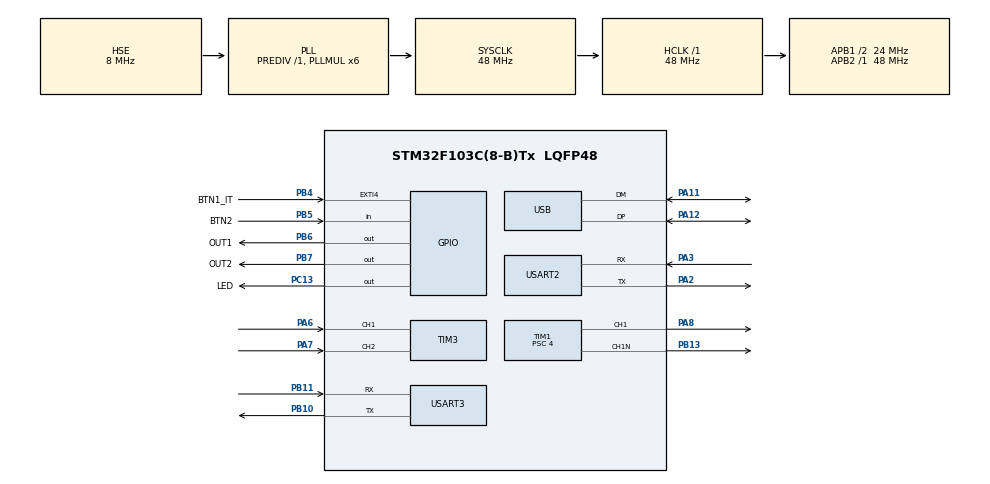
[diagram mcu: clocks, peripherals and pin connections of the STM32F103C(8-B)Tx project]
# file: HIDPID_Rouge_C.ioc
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Dma.Request0=USART2_RX
Dma.Request1=USART2_TX
Dma.Request2=USART3_RX
Dma.Request3=USART3_TX
Dma.USART2_RX.0.Direction=DMA_PERIPH_TO_MEMORY
Dma.USART2_RX.0.Instance=DMA1_Channel6
Dma.USART2_RX.0.MemDataAlignment=DMA_MDATAALIGN_BYTE
Dma.USART2_RX.0.MemInc=DMA_MINC_ENABLE
Dma.USART2_RX.0.Mode=DMA_NORMAL
Dma.USART2_RX.0.PeriphDataAlignment=DMA_PDATAALIGN_BYTE
Dma.USART2_RX.0.PeriphInc=DMA_PINC_DISABLE
Dma.USART2_RX.0.Priority=DMA_PRIORITY_LOW
Dma.USART2_TX.1.Direction=DMA_MEMORY_TO_PERIPH
Dma.USART2_TX.1.Instance=DMA1_Channel7
Dma.USART2_TX.1.MemDataAlignment=DMA_MDATAALIGN_BYTE
Dma.USART2_TX.1.MemInc=DMA_MINC_ENABLE
Dma.USART2_TX.1.Mode=DMA_NORMAL
Dma.USART2_TX.1.PeriphDataAlignment=DMA_PDATAALIGN_BYTE
Dma.USART2_TX.1.PeriphInc=DMA_PINC_DISABLE
Dma.USART2_TX.1.Priority=DMA_PRIORITY_LOW
Dma.USART3_RX.2.Direction=DMA_PERIPH_TO_MEMORY
Dma.USART3_RX.2.Instance=DMA1_Channel3
Dma.USART3_RX.2.MemDataAlignment=DMA_MDATAALIGN_BYTE
Dma.USART3_RX.2.MemInc=DMA_MINC_ENABLE
Dma.USART3_RX.2.Mode=DMA_NORMAL
Dma.USART3_RX.2.PeriphDataAlignment=DMA_PDATAALIGN_BYTE
Dma.USART3_RX.2.PeriphInc=DMA_PINC_DISABLE
Dma.USART3_RX.2.Priority=DMA_PRIORITY_LOW
Dma.USART3_TX.3.Direction=DMA_MEMORY_TO_PERIPH
Dma.USART3_TX.3.Instance=DMA1_Channel2
Dma.USART3_TX.3.MemDataAlignment=DMA_MDATAALIGN_BYTE
Dma.USART3_TX.3.MemInc=DMA_MINC_ENABLE
Dma.USART3_TX.3.Mode=DMA_NORMAL
Dma.USART3_TX.3.PeriphDataAlignment=DMA_PDATAALIGN_BYTE
Dma.USART3_TX.3.PeriphInc=DMA_PINC_DISABLE
Dma.USART3_TX.3.Priority=DMA_PRIORITY_LOW
Mcu.Family=STM32F1
Mcu.Name=STM32F103C(8-B)Tx
Mcu.Package=LQFP48
NVIC.DMA1_Channel2_IRQn=true\:0\:0\:true\:false\:true\:false
NVIC.DMA1_Channel3_IRQn=true\:0\:0\:false\:false\:true\:false
NVIC.DMA1_Channel6_IRQn=true\:0\:0\:false\:false\:true\:false
NVIC.DMA1_Channel7_IRQn=true\:0\:0\:false\:false\:true\:false
NVIC.EXTI4_IRQn=true\:5\:0\:true\:false\:true\:true
NVIC.PriorityGroup=NVIC_PRIORITYGROUP_4
NVIC.TIM1_CC_IRQn=true\:0\:0\:false\:false\:true\:true
NVIC.TIM2_IRQn=true\:0\:0\:false\:false\:true\:true
NVIC.TIM3_IRQn=true\:0\:0\:false\:false\:true\:true
NVIC.USB_HP_CAN1_TX_IRQn=true\:0\:0\:false\:false\:true\:true
NVIC.USB_LP_CAN1_RX0_IRQn=true\:0\:0\:true\:false\:true\:false
PA11.Mode=Device
PA11.Signal=USB_DM
PA12.Mode=Device
PA12.Signal=USB_DP
PA13.Mode=Serial_Wire
PA13.Signal=SYS_JTMS-SWDIO
PA14.Mode=Serial_Wire
PA14.Signal=SYS_JTCK-SWCLK
PA2.Mode=Asynchronous
PA2.Signal=USART2_TX
PA3.Mode=Asynchronous
PA3.Signal=USART2_RX
PA6.Signal=S_TIM3_CH1
PA7.Signal=S_TIM3_CH2
PA8.Signal=S_TIM1_CH1
PB10.Mode=Asynchronous
PB10.Signal=USART3_TX
PB11.Mode=Asynchronous
PB11.Signal=USART3_RX
PB13.Mode=Output Compare1 CH1 CH1N
PB13.Signal=TIM1_CH1N
PB4.GPIO_Label=BTN1_IT
PB4.GPIO_PuPd=GPIO_PULLUP
PB4.Signal=GPXTI4
PB5.GPIO_Label=BTN2
PB5.GPIO_PuPd=GPIO_PULLUP
PB5.Signal=GPIO_Input
PB6.GPIO_Label=OUT1
PB6.Signal=GPIO_Output
PB7.GPIO_Label=OUT2
PB7.Signal=GPIO_Output
PC13-TAMPER-RTC.GPIO_Label=LED
PC13-TAMPER-RTC.Signal=GPIO_Output
PC14-OSC32_IN.Mode=LSE-External-Oscillator
PC14-OSC32_IN.Signal=RCC_OSC32_IN
PC15-OSC32_OUT.Mode=LSE-External-Oscillator
PC15-OSC32_OUT.Signal=RCC_OSC32_OUT
PD0-OSC_IN.Mode=HSE-External-Oscillator
PD0-OSC_IN.Signal=RCC_OSC_IN
PD1-OSC_OUT.Mode=HSE-External-Oscillator
PD1-OSC_OUT.Signal=RCC_OSC_OUT
ProjectManager.HeapSize=0x200
ProjectManager.StackSize=0x400
ProjectManager.TargetToolchain=MDK-ARM V5
RCC.AHBFreq_Value=48000000
RCC.APB1CLKDivider=RCC_HCLK_DIV2
RCC.APB1Freq_Value=24000000
RCC.APB1TimFreq_Value=48000000
RCC.APB2Freq_Value=48000000
RCC.APB2TimFreq_Value=48000000
RCC.HCLKFreq_Value=48000000
RCC.PLLMUL=RCC_PLL_MUL6
RCC.SYSCLKFreq_VALUE=48000000
RCC.SYSCLKSource=RCC_SYSCLKSOURCE_PLLCLK
RCC.USBFreq_Value=48000000
SH.S_TIM1_CH1.0=TIM1_CH1,Output Compare1 CH1 CH1N
SH.S_TIM3_CH1.0=TIM3_CH1,Encoder_Interface
SH.S_TIM3_CH2.0=TIM3_CH2,Encoder_Interface
TIM1.AutoReloadPreload=TIM_AUTORELOAD_PRELOAD_ENABLE
TIM1.Channel-Output\ Compare1\ CH1\ CH1N=TIM_CHANNEL_1
TIM1.Period=32767
TIM1.Prescaler=4
TIM2.AutoReloadPreload=TIM_AUTORELOAD_PRELOAD_ENABLE
TIM2.Period=32767
TIM2.Prescaler=4
USART2.VirtualMode=VM_ASYNC
USART3.VirtualMode=VM_ASYNC
USB.ep0_mps=DEP0CTL_MPS_64
USB_DEVICE.CLASS_NAME_FS=CUSTOMHID
USB_DEVICE.LANGID_STRING=1036
USB_DEVICE.MANUFACTURER_STRING=RAM64
USB_DEVICE.PID_CUSTOMHID_FS=0x5710
USB_DEVICE.PRODUCT_STRING_CUSTOMHID_FS=HIDPIDCustom
USB_DEVICE.USBD_CUSTOMHID_OUTREPORT_BUF_SIZE=64
USB_DEVICE.USBD_CUSTOM_HID_REPORT_DESC_SIZE=64
USB_DEVICE.VID=0x0483
USB_DEVICE.VirtualMode=CustomHid
USB_DEVICE.VirtualModeFS=Custom_Hid_FS
VP_TIM1_VS_ClockSourceINT.Mode=Internal
VP_TIM2_VS_ClockSourceINT.Mode=Internal
VP_USB_DEVICE_VS_USB_DEVICE_CUSTOM_HID_FS.Mode=CUSTOM_HID_FS
board=custom

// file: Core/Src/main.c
/**
  ******************************************************************************
  * @file           : main.c
  * @brief          : Main program body
  ******************************************************************************
  * This notice applies to any and all portions of this file
  * that are not between comment pairs USER CODE BEGIN and
  * USER CODE END. Other portions of this file, whether
  * inserted by the user or by software development tools
  * are owned by their respective copyright owners.
  *
  * Copyright (c) 2018 STMicroelectronics International N.V.
  * All rights reserved.
  *
  * Redistribution and use in source and binary forms, with or without
  * modification, are permitted, provided that the following conditions are met:
  *
  * 1. Redistribution of source code must retain the above copyright notice,
  *    this list of conditions and the following disclaimer.
  * 2. Redistributions in binary form must reproduce the above copyright notice,
  *    this list of conditions and the following disclaimer in the documentation
  *    and/or other materials provided with the distribution.
  * 3. Neither the name of STMicroelectronics nor the names of other
  *    contributors to this software may be used to endorse or promote products
  *    derived from this software without specific written permission.
  * 4. This software, including modifications and/or derivative works of this
  *    software, must execute solely and exclusively on microcontroller or
  *    microprocessor devices manufactured by or for STMicroelectronics.
  * 5. Redistribution and use of this software other than as permitted under
  *    this license is void and will automatically terminate your rights under
  *    this license.
  *
  * THIS SOFTWARE IS PROVIDED BY STMICROELECTRONICS AND CONTRIBUTORS "AS IS"
  * AND ANY EXPRESS, IMPLIED OR STATUTORY WARRANTIES, INCLUDING, BUT NOT
  * LIMITED TO, THE IMPLIED WARRANTIES OF MERCHANTABILITY, FITNESS FOR A
  * PARTICULAR PURPOSE AND NON-INFRINGEMENT OF THIRD PARTY INTELLECTUAL PROPERTY
  * RIGHTS ARE DISCLAIMED TO THE FULLEST EXTENT PERMITTED BY LAW. IN NO EVENT
  * SHALL STMICROELECTRONICS OR CONTRIBUTORS BE LIABLE FOR ANY DIRECT, INDIRECT,
  * INCIDENTAL, SPECIAL, EXEMPLARY, OR CONSEQUENTIAL DAMAGES (INCLUDING, BUT NOT
  * LIMITED TO, PROCUREMENT OF SUBSTITUTE GOODS OR SERVICES; LOSS OF USE, DATA,
  * OR PROFITS; OR BUSINESS INTERRUPTION) HOWEVER CAUSED AND ON ANY THEORY OF
  * LIABILITY, WHETHER IN CONTRACT, STRICT LIABILITY, OR TORT (INCLUDING
  * NEGLIGENCE OR OTHERWISE) ARISING IN ANY WAY OUT OF THE USE OF THIS SOFTWARE,
  * EVEN IF ADVISED OF THE POSSIBILITY OF SUCH DAMAGE.
  *
  ******************************************************************************
  */
#include "main.h"
#include "stm32f1xx_hal.h"
#include "dma.h"
#include "tim.h"
#include "usart.h"
#include "usb_device.h"
#include "gpio.h"

/* USER CODE BEGIN Includes */
#include "usbd_customhid.h"
#include "usbd_custom_hid_if.h"
/* USER CODE END Includes */

/* USER CODE BEGIN PV */
/* Private variables ---------------------------------------------------------*/
	struct WheelHID_t strucWheelHID;

	uint8_t HID_GetReport_Value[5]; //valeur a priori du plus long feature report
	uint8_t Request = 0;                                // completed request at status stage
  //pour 16 bits data send LSB first
	//le premier byte est le ReportID
 	uint8_t In_Report_1_Buffer[15] = {0x01 ,0x00, 0x25, 0x34, 0x46, 0x52, 0x06, 0x46, 0x52, 0x06, 0x01 ,0x00, 0x25, 0x12, 0x25};
	// HID status report
	uint8_t In_Report_2_Buffer[3] = {0x02 ,0x12, 0x00};
	uint8_t sendrep2 = 0; // doit'on envoyer le status report ou le standard
	uint8_t HID_SetReport_Value[5];
/* USER CODE END PV */

void SystemClock_Config(void);

/* USER CODE BEGIN PFP */
/* Private function prototypes -----------------------------------------------*/

/* USER CODE END PFP */

int main(void)
{
  /* USER CODE BEGIN 1 */
strucWheelHID.steering = 0;
strucWheelHID.accelerator = 10;
strucWheelHID.brake = 20;
strucWheelHID.clutch = 30;
strucWheelHID.handbrake = 40;
strucWheelHID.boutons = 127;
strucWheelHID.dummy = 0xFF;
  /* USER CODE END 1 */

  /* MCU Configuration----------------------------------------------------------*/

  /* Reset of all peripherals, Initializes the Flash interface and the Systick. */
  HAL_Init();

  /* Configure the system clock */
  SystemClock_Config();

  /* Initialize all configured peripherals */
  MX_GPIO_Init();
  MX_DMA_Init();
  MX_USB_DEVICE_Init();
  MX_USART3_UART_Init();
  MX_USART2_UART_Init();
  MX_TIM1_Init();
  MX_TIM2_Init();
  MX_TIM3_Init();
  /* USER CODE BEGIN 2 */
printf("SerialWorking\r\n");
  /* USER CODE END 2 */

  /* Infinite loop */
  while (1)
  {

  /* USER CODE BEGIN 3 */
	strucWheelHID.steering += 10;

	In_Report_1_Buffer[0] = 1;													//report nb 1
	In_Report_1_Buffer[1] = strucWheelHID.steering>>8;
	In_Report_1_Buffer[2] = strucWheelHID.steering&0xFF;
	In_Report_1_Buffer[3] = strucWheelHID.accelerator>>8;
	In_Report_1_Buffer[4] = strucWheelHID.accelerator&0xFF;
	In_Report_1_Buffer[5] = strucWheelHID.brake>>8;
	In_Report_1_Buffer[6] = strucWheelHID.brake&0xFF;
	In_Report_1_Buffer[7] = strucWheelHID.clutch>>8;
	In_Report_1_Buffer[8] = strucWheelHID.clutch&0xFF;
	In_Report_1_Buffer[9] = strucWheelHID.handbrake>>8;
	In_Report_1_Buffer[10] = strucWheelHID.handbrake&0xFF;
	In_Report_1_Buffer[11] = strucWheelHID.boutons;
	In_Report_1_Buffer[12] = strucWheelHID.dummy;

	if (sendrep2 == 1){
			USBD_CUSTOM_HID_SendReport(&hUsbDeviceFS,In_Report_2_Buffer,3);// sizeof(In_Report_2_Buffer));
			sendrep2 = 0;
		} else
		{
			USBD_CUSTOM_HID_SendReport(&hUsbDeviceFS,In_Report_1_Buffer, 13); //14?? = 13+1
		}

  }
  /* USER CODE END 3 */

}

void SystemClock_Config(void)
{

  RCC_OscInitTypeDef RCC_OscInitStruct;
  RCC_ClkInitTypeDef RCC_ClkInitStruct;
  RCC_PeriphCLKInitTypeDef PeriphClkInit;

    /**Initializes the CPU, AHB and APB busses clocks
    */
  RCC_OscInitStruct.OscillatorType = RCC_OSCILLATORTYPE_HSE;
  RCC_OscInitStruct.HSEState = RCC_HSE_ON;
  RCC_OscInitStruct.HSEPredivValue = RCC_HSE_PREDIV_DIV1;
  RCC_OscInitStruct.HSIState = RCC_HSI_ON;
  RCC_OscInitStruct.PLL.PLLState = RCC_PLL_ON;
  RCC_OscInitStruct.PLL.PLLSource = RCC_PLLSOURCE_HSE;
  RCC_OscInitStruct.PLL.PLLMUL = RCC_PLL_MUL6;
  if (HAL_RCC_OscConfig(&RCC_OscInitStruct) != HAL_OK)
  {
    _Error_Handler(__FILE__, __LINE__);
  }

    /**Initializes the CPU, AHB and APB busses clocks
    */
  RCC_ClkInitStruct.ClockType = RCC_CLOCKTYPE_HCLK|RCC_CLOCKTYPE_SYSCLK
                              |RCC_CLOCKTYPE_PCLK1|RCC_CLOCKTYPE_PCLK2;
  RCC_ClkInitStruct.SYSCLKSource = RCC_SYSCLKSOURCE_PLLCLK;
  RCC_ClkInitStruct.AHBCLKDivider = RCC_SYSCLK_DIV1;
  RCC_ClkInitStruct.APB1CLKDivider = RCC_HCLK_DIV2;
  RCC_ClkInitStruct.APB2CLKDivider = RCC_HCLK_DIV1;

  if (HAL_RCC_ClockConfig(&RCC_ClkInitStruct, FLASH_LATENCY_1) != HAL_OK)
  {
    _Error_Handler(__FILE__, __LINE__);
  }

  PeriphClkInit.PeriphClockSelection = RCC_PERIPHCLK_USB;
  PeriphClkInit.UsbClockSelection = RCC_USBCLKSOURCE_PLL;
  if (HAL_RCCEx_PeriphCLKConfig(&PeriphClkInit) != HAL_OK)
  {
    _Error_Handler(__FILE__, __LINE__);
  }

    /**Configure the Systick interrupt time
    */
  HAL_SYSTICK_Config(HAL_RCC_GetHCLKFreq()/1000);

    /**Configure the Systick
    */
  HAL_SYSTICK_CLKSourceConfig(SYSTICK_CLKSOURCE_HCLK);

  /* SysTick_IRQn interrupt configuration */
  HAL_NVIC_SetPriority(SysTick_IRQn, 0, 0);
}

/* USER CODE BEGIN 4 */

/*******************************************************************************
* Function Name  : Joystick_GetReport_Feature.
* Description    : Gets the HID report feature.
* Input          : Length
* Output         : HID_GetReport_Value.
* Return         : l'etat du bloc d'effets.
*******************************************************************************/
/*
bmRequestType	bRequest								wValue													wIndex									wLength								Data
1000 0000b	GET_STATUS 				(0x00)	Zero														Zero										Two										Device Status
0000 0000b	CLEAR_FEATURE 		(0x01)	Feature Selector								Zero										Zero									None
0000 0000b	SET_FEATURE 			(0x03)	Feature Selector								Zero										Zero									None
0000 0000b	SET_ADDRESS 			(0x05)	Device Address									Zero										Zero									None
1000 0000b	GET_DESCRIPTOR 		(0x06)	Descriptor Type & Index					Zero or Language ID			Descriptor 	Length		Descriptor
0000 0000b	SET_DESCRIPTOR 		(0x07)	Descriptor Type & Index					Zero or Language ID			Descriptor 	Length		Descriptor
1000 0000b	GET_CONFIGURATION (0x08)	Zero														Zero										1											Configuration Value
0000 0000b	SET_CONFIGURATION (0x09)	Configuration Value							Zero										Zero									None
*/
uint8_t *Joystick_GetReport_Feature(uint16_t Length)//,USBD_SetupReqTypedef *req)
{		// GET: le host demande quelque chose
USBD_SetupReqTypedef *req;
  switch ( (req->wValue)&0xff )               // report ID
  {
    case 1: // host demand allocation d'un bloc d'effet
						// rien a retourner
		break;
    case 2:		// Block load statuts//a-t'on reussi a creer l'effet
							// et quelle place reste t'il
      if (Length == 0)
      {
                              // 5 bytes, report ID and report body
        req->wLength = 5;
        return NULL;
      } else {
        // here, put value to HID_GetReport_Value depending on report ID
        HID_GetReport_Value[0] = (req->wValue)&0xff;// pInformation->USBwValue0;  // report ID
        HID_GetReport_Value[1] = 1;//*GetNextFreeBlock();    //EffectBlockIndex                // body
        HID_GetReport_Value[2] = 1;//*(GetNextFreeBlock()+1);    //block load succes|full|error (1,2 ou 3)                // body
        HID_GetReport_Value[3] = FREE_MEM&0xFF;    //RAM Pool AvailableLSB                // body
        HID_GetReport_Value[4] = FREE_MEM>>8;      //RAM Pool AvailableMSB                // body
        return HID_GetReport_Value;
      }
//			break;
    case 3:		//PID Pool Report //comment est gere le pool d'effects, sa taille....
      if (Length == 0)
      {
                              // 5 bytes, report ID and report body
        req->wLength = 5;//        pInformation->Ctrl_Info.Usb_wLength = 5;
        return NULL;
      } else {
        // here, put value to HID_GetReport_Value depending on report ID
        HID_GetReport_Value[0] = (req->wValue)&0xff;// pInformation->USBwValue0;  // report ID
        HID_GetReport_Value[1] = ALLOCATED_BLOCK_MEM&0xFF; 	// ram pool size LSB
        HID_GetReport_Value[2] = ALLOCATED_BLOCK_MEM>>8; 		// ram pool size MSB
        HID_GetReport_Value[3] = MaxContiguousEffects; 			// max simultaneous effects
        HID_GetReport_Value[4] = 0x01; // 2 bits devicemanagedpool 1,shared marameters 0
        return HID_GetReport_Value;
      }
//			break;
    case 4:
    case 5:
    case 6:
    case 7:
    default:
      return NULL;
  }

	return HID_GetReport_Value;

}

uint8_t *Joystick_SetReport_Feature(uint16_t Length)
{		//SET c'est a moi de recuperer des data utiles
	//interface report:
//	USBD_CustomHID_fops_FS.DeInit
//	USBD_CustomHID_fops_FS.Init
//	USBD_CustomHID_fops_FS.OutEvent
//	USBD_CustomHID_fops_FS.pReport

// USB Device handle
//	hUsbDeviceFS.dev_address
//	hUsbDeviceFS.dev_config
//	hUsbDeviceFS.dev_config_status
//	hUsbDeviceFS.dev_connection_status
//	hUsbDeviceFS.dev_default_config
//	hUsbDeviceFS.dev_old_state
//	hUsbDeviceFS.dev_remote_wakeup
//	hUsbDeviceFS.dev_speed
//	hUsbDeviceFS.dev_state
//	hUsbDeviceFS.dev_test_mode
//	hUsbDeviceFS.ep0_data_len
//	hUsbDeviceFS.ep0_state
//	hUsbDeviceFS.ep_in
//	hUsbDeviceFS.ep_out
//	hUsbDeviceFS.id
//	hUsbDeviceFS.pClass
//	hUsbDeviceFS.pClassData
//	hUsbDeviceFS.pData
//	hUsbDeviceFS.pDesc
//	hUsbDeviceFS.pUserData
//	hUsbDeviceFS.request

USBD_SetupReqTypedef *req;

  switch ((req->wValue)&0xff )               // report ID
  {
    case 1:				// 1 = create new effect report
									// host demande allocation new effect
      if (Length == 0)
      {
                              // 4 bytes, report ID and report body
        req->wLength = 4;//        pInformation->Ctrl_Info.Usb_wLength = 4;
        return NULL;
      } else {
				// 1 = create new effect report
				// 2 = effect type
				// 3|4 = byte count si custom effect, 00 00 pour les autres
        return HID_SetReport_Value;
      }
    case 2:
    case 3:
    case 4:
    case 5:
    case 6:
    case 7:
    default:
      return NULL;
  }

}

#ifdef __GNUC__
  /* With GCC/RAISONANCE, small printf (option LD Linker->Libraries->Small printf
     set to 'Yes') calls __io_putchar() */
  #define PUTCHAR_PROTOTYPE int __io_putchar(int ch)
#else
  #define PUTCHAR_PROTOTYPE int fputc(int ch, FILE *f)
#endif /* __GNUC__ */
/**
  * @brief  Retargets the C library printf function to the USART.
  * @param  None
  * @retval None
  */
PUTCHAR_PROTOTYPE
{
	//int8_t errcod;
  /* Place your implementation of fputc here */
  /* e.g. write a character to the EVAL_COM1 and Loop until the end of transmission */
	HAL_UART_Transmit(&huart2, (uint8_t *)&ch, 1, 0xFFFF);
	//HAL_UART_Transmit_DMA(&huart2, (uint8_t *)&ch, sizeof(ch));//, 0xFFFF);
	//HAL_USART_Transmit_IT(&husart2, (uint8_t *)&ch, 1);

  return ch;
}
//assumes little endian
void printBits(size_t const size, void const * const ptr)
{
    unsigned char *b = (unsigned char*) ptr;
    unsigned char byte;
    int i, j;

    for (i=size-1;i>=0;i--)
    {
        for (j=7;j>=0;j--)
        {
            byte = (b[i] >> j) & 1;
            printf("%u", byte);
        }
    }
    puts("");
}

/* USER CODE END 4 */

void _Error_Handler(char *file, int line)
{
  /* USER CODE BEGIN Error_Handler_Debug */
  /* User can add his own implementation to report the HAL error return state */
  while(1)
  {
				printf("Wrong parameters value: file %s on line %d\r\n", file, line);
  }
  /* USER CODE END Error_Handler_Debug */
}

#ifdef  USE_FULL_ASSERT
/**
  * @brief  Reports the name of the source file and the source line number
  *         where the assert_param error has occurred.
  * @param  file: pointer to the source file name
  * @param  line: assert_param error line source number
  * @retval None
  */
void assert_failed(uint8_t* file, uint32_t line)
{
  /* USER CODE BEGIN 6 */
  /* User can add his own implementation to report the file name and line number,     tex:  */
printf("Wrong parameters value: file %s on line %d\r\n", file, line);
  /* USER CODE END 6 */
}
#endif /* USE_FULL_ASSERT */

/************************ (C) COPYRIGHT STMicroelectronics *****END OF FILE****/
